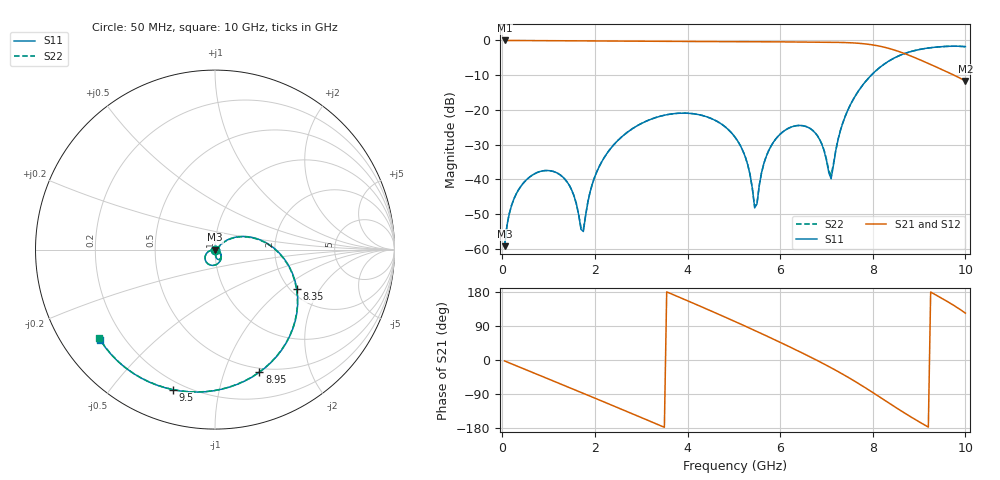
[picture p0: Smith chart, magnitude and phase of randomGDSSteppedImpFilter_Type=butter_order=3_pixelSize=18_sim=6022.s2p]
! freq	dB(S11)	phase(S11)	dB(S12)	phase(S12)
!  dB(S21)	phase(S21)	dB(S22)	phase(S22)
!S-par simulation data
#  GHz  S  DB  R 50
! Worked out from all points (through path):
!   200 points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, 50 MHz to 10 GHz, reference 50 ohm
!   highest |S21| = 0.00 dB at 50 MHz (marker M1); lowest = -11.7 dB at 10 GHz (marker M2)
!   group delay of S21, straight-line fit = 162 ps
!   lowest |S11| = -59.2 dB at 50 MHz (marker M3), VSWR 1.00, Z = 50 - j0.102 ohm
!   |S11| at or under -10 dB: start of sweep to 7.968 GHz
!   |S22| runs from -59.2 to -1.7 dB; largest |S21 - S12| = 0
!   S11 on the Smith chart (normalised r, x): 50 MHz: 1.00, -0.00; 8.35 GHz: 2.16, -1.28; 8.95 GHz: 0.46, -1.32; 9.5 GHz: 0.16, -0.73; 10 GHz: 0.11, -0.34
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0.05  -59.24 -69.0  -0.00 -2.6  -0.00 -2.6  -59.24 -69.0
0.3  -44.22 -101.6  -0.02 -15.1  -0.02 -15.1  -44.22 -101.6
0.85  -37.62 -134.7  -0.05 -42.7  -0.05 -42.7  -37.62 -134.9
1.4  -40.76 -167.9  -0.08 -70.4  -0.08 -70.4  -40.76 -168.4
1.75  -55.01 68.9  -0.10 -88.0  -0.10 -88.0  -54.46 69.9
1.95  -41.11 3.5  -0.11 -98.2  -0.11 -98.2  -41.06 4.4
2.25  -32.73 -18.5  -0.13 -113.4  -0.13 -113.4  -32.72 -18.0
3.4  -21.86 -80.3  -0.24 -172.4  -0.24 -172.4  -21.86 -80.1
4.15  -21.16 -118.9  -0.31 148.5  -0.31 148.5  -21.15 -118.7
5.05  -28.31 -163.4  -0.34 100.1  -0.34 100.1  -28.30 -163.0
5.3  -35.80 -170.0  -0.35 86.3  -0.35 86.3  -35.77 -169.3
5.45  -48.20 -126.8  -0.36 78.0  -0.36 78.0  -47.93 -125.8
5.65  -35.37 -31.8  -0.38 66.7  -0.38 66.7  -35.35 -32.0
5.9  -28.47 -39.3  -0.40 52.4  -0.40 52.4  -28.46 -39.2
6.7  -25.88 -78.8  -0.48 5.0  -0.48 5.0  -25.85 -77.9
7.1  -39.85 -12.9  -0.52 -20.5  -0.52 -20.5  -38.85 -14.2
7.25  -28.59 40.9  -0.56 -30.5  -0.56 -30.5  -28.50 38.7
7.5  -18.97 34.5  -0.66 -47.9  -0.66 -47.9  -18.96 33.6
8.35  -5.91 -25.8  -2.30 -113.7  -2.30 -113.7  -5.91 -26.1
8.95  -2.77 -70.1  -5.18 -159.4  -5.18 -159.4  -2.77 -70.4
9.5  -1.78 -106.7  -8.43 162.1  -8.43 162.1  -1.78 -107.0
10  -1.79 -142.0  -11.66 123.6  -11.66 123.6  -1.81 -142.6
